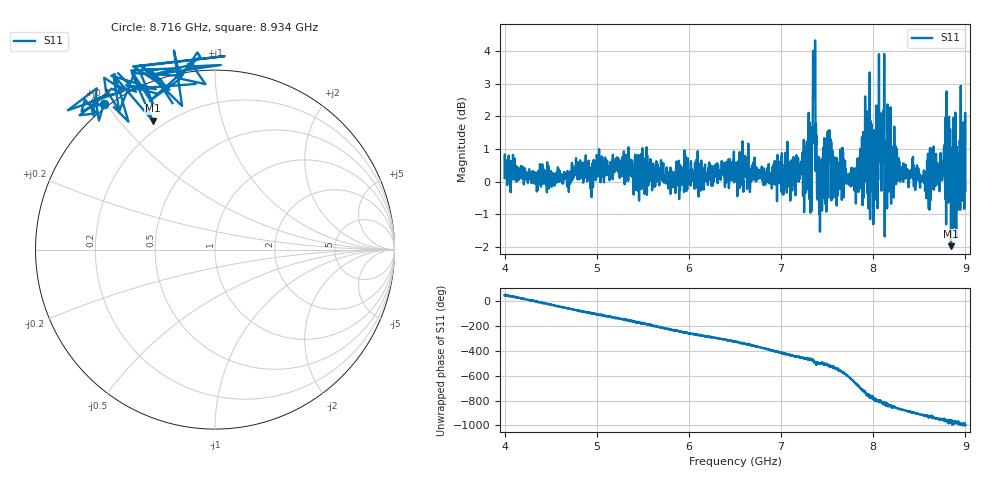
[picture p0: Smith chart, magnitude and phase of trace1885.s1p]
! Created with skrf 1.8.0 (http://scikit-rf.org).
# Hz S RI R 50.0
!freq ReS11 ImS11
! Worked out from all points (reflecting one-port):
!   1601 points, 4 GHz to 9 GHz, reference 50 ohm
!   lowest |S11| = -2.0 dB at 8.844 GHz (marker M1), VSWR 8.85, Z = 7.84 + j30.8 ohm
!   phase of S11 starts at 51 deg and turns -1044 deg over the sweep
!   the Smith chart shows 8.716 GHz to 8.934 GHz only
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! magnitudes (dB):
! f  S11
! 4 GHz  0.1
! 4.625 GHz  0.0
! 5.25 GHz  0.1
! 5.875 GHz  0.2
! 6.5 GHz  0.2
! 7.125 GHz  0.3
! 7.309 GHz  0.7
! 7.347 GHz  4.0
! 7.359 GHz  3.2
! 7.372 GHz  2.7
! 7.4 GHz  -0.4
! 7.412 GHz  -0.2
! 7.519 GHz  1.1
! 7.591 GHz  0.5
! 7.65 GHz  0.6
! 7.75 GHz  0.1
! 7.909 GHz  0.4
! 7.938 GHz  1.7
! 8.022 GHz  0.6
! 8.097 GHz  0.6
! 8.216 GHz  1.1
! 8.375 GHz  0.3
! 8.588 GHz  0.4
! 8.775 GHz  1.1
! 8.844 GHz  -2.0
! 8.919 GHz  -0.2
! 8.972 GHz  0.5
! 9 GHz  -0.3
